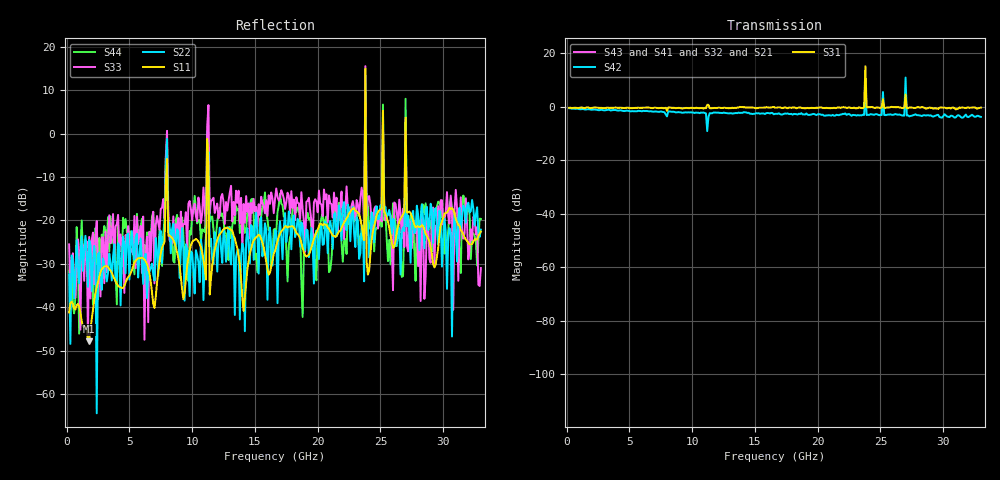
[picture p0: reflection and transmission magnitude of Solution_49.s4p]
# GHZ S RI R 50
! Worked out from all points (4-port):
!   329 points, 200 MHz to 33 GHz, reference 50 ohm
!   strongest paths, dB at 200 MHz, 8.4 GHz, 16.6 GHz, 24.8 GHz, 33 GHz:
!     S31: -0.4, -0.3, -0.3, -0.2, -0.3
!     S42: -0.5, -1.8, -2.6, -2.9, -3.7
!     S43: -, -, -, -, -
!     S41: -, -, -, -, -
!     S32: -, -, -, -, -
!     S21: -, -, -, -, -
!   lowest |S11| = -47.8 dB at 1.8 GHz (marker M1), VSWR 1.01, Z = 49.7 + j0.242 ohm
!   |S11| at or under -10 dB: start of sweep to 7.929 GHz; 11.31 GHz to 23.74 GHz (12.43 GHz wide, 70.9 % of centre); 27.06 GHz to end of sweep (the widest 3 of 6)
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0.2  -0.0061 0.00624  0 0  0.9583 0.0576  0 0
     0 0  0.0239 0.00228  0 0  -0.37 0.9113
     0.9583 0.0576  0 0  0.0215 0.0485  0 0
     0 0  0.5693 -0.7543  0 0  0.00185 -0.0254
1.8  -0.00326 0.00244  0 0  0.9153 0.2932  0 0
     0 0  0.045 0.0389  0 0  0.5748 -0.7431
     0.9153 0.2932  0 0  0.00606 0.0642  0 0
     0 0  -0.3072 -0.849  0 0  0.0278 -0.0343
23.7  0.0581 -0.0115  0 0  0.7624 -0.625  0 0
      0 0  -0.019 -0.00599  0 0  -0.7297 0.1102
      0.7624 -0.625  0 0  0.0782 0.0453  0 0
      0 0  0.2519 0.6597  0 0  -0.0323 0.0758
23.8  -0.4337 5.603  0 0  -2.843 5.044  0 0
      0 0  1.084 -1.079  0 0  -0.2132 -2.11
      -2.843 5.044  0 0  -4.909 3.382  0 0
      0 0  -0.4068 -2.016  0 0  -2.598 -1.506
23.9  0.0243 0.0226  0 0  0.7628 -0.6205  0 0
      0 0  0.0982 0.0255  0 0  0.2338 -0.6834
      0.7628 -0.6205  0 0  -0.043 0.1035  0 0
      0 0  0.6716 0.2066  0 0  -0.1195 0.126
27  -1.187 -0.9564  0 0  0.999 1.385  0 0
    0 0  0.1841 -0.3785  0 0  0.202 0.4064
    0.999 1.385  0 0  0.1299 -1.053  0 0
    0 0  -0.3393 -3.526  0 0  2.39 0.7763
33  -0.0531 -0.0523  0 0  0.7078 -0.6649  0 0
    0 0  -0.0425 0.0658  0 0  -0.6731 -0.1603
    0.7078 -0.6649  0 0  0.00951 0.0267  0 0
    0 0  -0.0135 0.65  0 0  0.0985 0.0332
